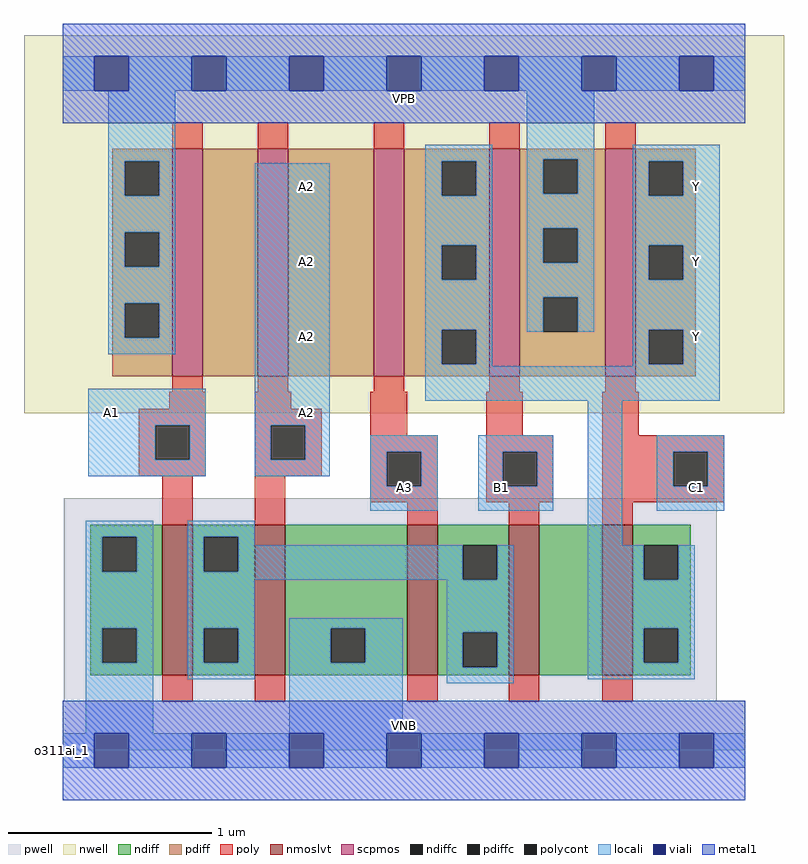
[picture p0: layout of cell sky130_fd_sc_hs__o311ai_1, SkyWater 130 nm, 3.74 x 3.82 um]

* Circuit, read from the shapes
.subckt sky130_fd_sc_hs__o311ai_1 A1 A2 A3 B1 C1 VGND VNB VPB VPWR Y
XM1 n1 A1 VGND VNB sky130_fd_pr__nfet_01v8_lvt w=0.74 l=0.15
XM2 VGND A2 n1 VNB sky130_fd_pr__nfet_01v8_lvt w=0.74 l=0.15
XM3 n1 A3 VGND VNB sky130_fd_pr__nfet_01v8_lvt w=0.74 l=0.15
XM4 n2 B1 n1 VNB sky130_fd_pr__nfet_01v8_lvt w=0.74 l=0.15
XM5 Y C1 n2 VNB sky130_fd_pr__nfet_01v8_lvt w=0.74 l=0.15
XM6 n3 A1 VPWR VPB sky130_fd_pr__pfet_01v8 w=1.12 l=0.15
XM7 n4 A2 n3 VPB sky130_fd_pr__pfet_01v8 w=1.12 l=0.15
XM8 Y A3 n4 VPB sky130_fd_pr__pfet_01v8 w=1.12 l=0.15
XM9 VPWR B1 Y VPB sky130_fd_pr__pfet_01v8 w=1.12 l=0.15
XM10 Y C1 VPWR VPB sky130_fd_pr__pfet_01v8 w=1.12 l=0.15
.ends

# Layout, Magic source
magic
tech sky130A
magscale 1 2
<< nwell >>
rect -38 332 710 704
<< pwell >>
rect 1 49 644 248
rect 0 0 672 49
<< scpmos >>
rect 108 368 138 592
rect 192 368 222 592
rect 306 368 336 592
rect 420 368 450 592
rect 534 368 564 592
<< nmoslvt >>
rect 98 74 128 222
rect 189 74 219 222
rect 339 74 369 222
rect 439 74 469 222
rect 531 74 561 222
<< ndiff >>
rect 27 210 98 222
rect 27 176 39 210
rect 73 176 98 210
rect 27 120 98 176
rect 27 86 39 120
rect 73 86 98 120
rect 27 74 98 86
rect 128 210 189 222
rect 128 176 139 210
rect 173 176 189 210
rect 128 120 189 176
rect 128 86 139 120
rect 173 86 189 120
rect 128 74 189 86
rect 219 120 339 222
rect 219 86 264 120
rect 298 86 339 120
rect 219 74 339 86
rect 369 202 439 222
rect 369 168 394 202
rect 428 168 439 202
rect 369 116 439 168
rect 369 82 394 116
rect 428 82 439 116
rect 369 74 439 82
rect 469 74 531 222
rect 561 202 618 222
rect 561 168 572 202
rect 606 168 618 202
rect 561 120 618 168
rect 561 86 572 120
rect 606 86 618 120
rect 561 74 618 86
<< pdiff >>
rect 49 580 108 592
rect 49 546 61 580
rect 95 546 108 580
rect 49 510 108 546
rect 49 476 61 510
rect 95 476 108 510
rect 49 440 108 476
rect 49 406 61 440
rect 95 406 108 440
rect 49 368 108 406
rect 138 368 192 592
rect 222 368 306 592
rect 336 580 420 592
rect 336 546 373 580
rect 407 546 420 580
rect 336 497 420 546
rect 336 463 373 497
rect 407 463 420 497
rect 336 414 420 463
rect 336 380 373 414
rect 407 380 420 414
rect 336 368 420 380
rect 450 582 534 592
rect 450 548 473 582
rect 507 548 534 582
rect 450 514 534 548
rect 450 480 473 514
rect 507 480 534 514
rect 450 446 534 480
rect 450 412 473 446
rect 507 412 534 446
rect 450 368 534 412
rect 564 580 623 592
rect 564 546 577 580
rect 611 546 623 580
rect 564 497 623 546
rect 564 463 577 497
rect 611 463 623 497
rect 564 414 623 463
rect 564 380 577 414
rect 611 380 623 414
rect 564 368 623 380
<< ndiffc >>
rect 39 176 73 210
rect 39 86 73 120
rect 139 176 173 210
rect 139 86 173 120
rect 264 86 298 120
rect 394 168 428 202
rect 394 82 428 116
rect 572 168 606 202
rect 572 86 606 120
<< pdiffc >>
rect 61 546 95 580
rect 61 476 95 510
rect 61 406 95 440
rect 373 546 407 580
rect 373 463 407 497
rect 373 380 407 414
rect 473 548 507 582
rect 473 480 507 514
rect 473 412 507 446
rect 577 546 611 580
rect 577 463 611 497
rect 577 380 611 414
<< poly >>
rect 108 592 138 618
rect 192 592 222 618
rect 306 592 336 618
rect 420 592 450 618
rect 534 592 564 618
rect 108 353 138 368
rect 192 353 222 368
rect 306 353 336 368
rect 420 353 450 368
rect 534 353 564 368
rect 105 336 141 353
rect 75 320 141 336
rect 75 286 91 320
rect 125 286 141 320
rect 75 270 141 286
rect 189 336 225 353
rect 189 320 255 336
rect 189 286 205 320
rect 239 286 255 320
rect 189 270 255 286
rect 303 310 339 353
rect 417 310 453 353
rect 531 310 567 353
rect 303 294 369 310
rect 98 222 128 270
rect 189 222 219 270
rect 303 260 319 294
rect 353 260 369 294
rect 303 244 369 260
rect 417 294 483 310
rect 417 260 433 294
rect 467 260 483 294
rect 417 244 483 260
rect 531 294 651 310
rect 531 260 601 294
rect 635 260 651 294
rect 531 244 651 260
rect 339 222 369 244
rect 439 222 469 244
rect 531 222 561 244
rect 98 48 128 74
rect 189 48 219 74
rect 339 48 369 74
rect 439 48 469 74
rect 531 48 561 74
<< polycont >>
rect 91 286 125 320
rect 205 286 239 320
rect 319 260 353 294
rect 433 260 467 294
rect 601 260 635 294
<< locali >>
rect 0 649 31 683
rect 65 649 127 683
rect 161 649 223 683
rect 257 649 319 683
rect 353 649 415 683
rect 449 649 511 683
rect 545 649 607 683
rect 641 649 672 683
rect 45 580 111 649
rect 45 546 61 580
rect 95 546 111 580
rect 357 580 423 596
rect 45 510 111 546
rect 45 476 61 510
rect 95 476 111 510
rect 45 440 111 476
rect 45 406 61 440
rect 95 406 111 440
rect 45 390 111 406
rect 25 320 141 356
rect 25 286 91 320
rect 125 286 141 320
rect 25 270 141 286
rect 189 320 263 578
rect 357 546 373 580
rect 407 546 423 580
rect 357 497 423 546
rect 357 463 373 497
rect 407 463 423 497
rect 357 414 423 463
rect 357 380 373 414
rect 407 380 423 414
rect 457 582 523 649
rect 457 548 473 582
rect 507 548 523 582
rect 457 514 523 548
rect 457 480 473 514
rect 507 480 523 514
rect 457 446 523 480
rect 457 412 473 446
rect 507 412 523 446
rect 561 580 647 596
rect 561 546 577 580
rect 611 546 647 580
rect 561 497 647 546
rect 561 463 577 497
rect 611 463 647 497
rect 561 414 647 463
rect 357 378 423 380
rect 561 380 577 414
rect 611 380 647 414
rect 561 378 647 380
rect 357 344 647 378
rect 189 286 205 320
rect 239 286 263 320
rect 189 270 263 286
rect 303 294 369 310
rect 303 260 319 294
rect 353 260 369 294
rect 303 236 369 260
rect 409 294 483 310
rect 409 260 433 294
rect 467 260 483 294
rect 409 236 483 260
rect 23 210 89 226
rect 23 176 39 210
rect 73 176 89 210
rect 23 120 89 176
rect 23 86 39 120
rect 73 86 89 120
rect 23 17 89 86
rect 123 210 189 226
rect 123 176 139 210
rect 173 202 189 210
rect 517 202 551 344
rect 585 294 651 310
rect 585 260 601 294
rect 635 260 651 294
rect 585 236 651 260
rect 173 176 394 202
rect 123 168 394 176
rect 428 168 444 202
rect 123 120 189 168
rect 123 86 139 120
rect 173 86 189 120
rect 123 70 189 86
rect 223 120 335 130
rect 223 86 264 120
rect 298 86 335 120
rect 223 17 335 86
rect 378 116 444 168
rect 378 82 394 116
rect 428 82 444 116
rect 378 66 444 82
rect 517 168 572 202
rect 606 168 622 202
rect 517 120 622 168
rect 517 86 572 120
rect 606 86 622 120
rect 517 70 622 86
rect 0 -17 31 17
rect 65 -17 127 17
rect 161 -17 223 17
rect 257 -17 319 17
rect 353 -17 415 17
rect 449 -17 511 17
rect 545 -17 607 17
rect 641 -17 672 17
<< viali >>
rect 31 649 65 683
rect 127 649 161 683
rect 223 649 257 683
rect 319 649 353 683
rect 415 649 449 683
rect 511 649 545 683
rect 607 649 641 683
rect 31 -17 65 17
rect 127 -17 161 17
rect 223 -17 257 17
rect 319 -17 353 17
rect 415 -17 449 17
rect 511 -17 545 17
rect 607 -17 641 17
<< metal1 >>
rect 0 683 672 715
rect 0 649 31 683
rect 65 649 127 683
rect 161 649 223 683
rect 257 649 319 683
rect 353 649 415 683
rect 449 649 511 683
rect 545 649 607 683
rect 641 649 672 683
rect 0 617 672 649
rect 0 17 672 49
rect 0 -17 31 17
rect 65 -17 127 17
rect 161 -17 223 17
rect 257 -17 319 17
rect 353 -17 415 17
rect 449 -17 511 17
rect 545 -17 607 17
rect 641 -17 672 17
rect 0 -49 672 -17
<< labels >>
rlabel comment s 0 0 0 0 4 o311ai_1
flabel pwell s 0 0 672 49 0 FreeSans 200 0 0 0 VNB
port 7 nsew ground bidirectional
flabel nwell s 0 617 672 666 0 FreeSans 200 0 0 0 VPB
port 8 nsew power bidirectional
flabel metal1 s 0 617 672 666 0 FreeSans 340 0 0 0 VPWR
port 9 nsew power bidirectional
flabel metal1 s 0 0 672 49 0 FreeSans 340 0 0 0 VGND
port 6 nsew ground bidirectional
flabel locali s 223 316 257 350 0 FreeSans 340 0 0 0 A2
port 2 nsew signal input
flabel locali s 223 390 257 424 0 FreeSans 340 0 0 0 A2
port 2 nsew signal input
flabel locali s 223 464 257 498 0 FreeSans 340 0 0 0 A2
port 2 nsew signal input
flabel locali s 223 538 257 572 0 FreeSans 340 0 0 0 A2
port 2 nsew signal input
flabel locali s 31 316 65 350 0 FreeSans 340 0 0 0 A1
port 1 nsew signal input
flabel locali s 607 242 641 276 0 FreeSans 340 0 0 0 C1
port 5 nsew signal input
flabel locali s 415 242 449 276 0 FreeSans 340 0 0 0 B1
port 4 nsew signal input
flabel locali s 607 390 641 424 0 FreeSans 340 0 0 0 Y
port 10 nsew signal output
flabel locali s 607 464 641 498 0 FreeSans 340 0 0 0 Y
port 10 nsew signal output
flabel locali s 607 538 641 572 0 FreeSans 340 0 0 0 Y
port 10 nsew signal output
flabel locali s 319 242 353 276 0 FreeSans 340 0 0 0 A3
port 3 nsew signal input
<< properties >>
string LEFsite unit
string LEFclass CORE
string FIXED_BBOX 0 0 672 666
string GDS_FILE $PDKPATH/libs.ref/sky130_fd_sc_hs/gds/sky130_fd_sc_hs.gds
string LEFsymmetry X Y
string GDS_END 599820
string GDS_START 593044
<< end >>
